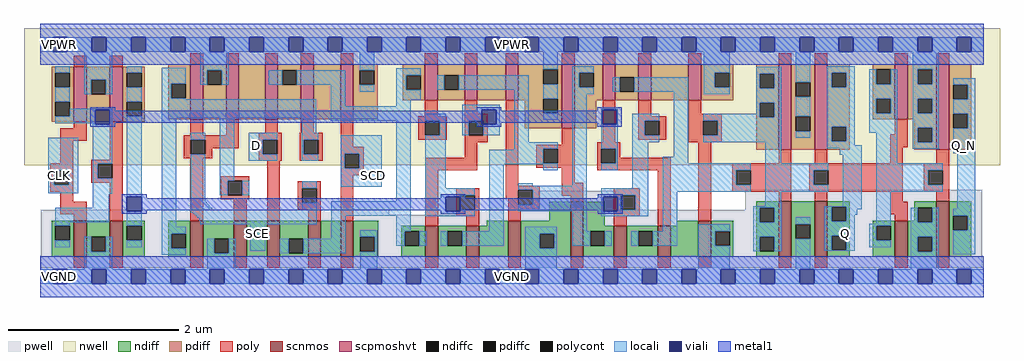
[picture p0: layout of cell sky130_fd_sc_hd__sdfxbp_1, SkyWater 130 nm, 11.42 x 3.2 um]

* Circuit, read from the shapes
.subckt sky130_fd_sc_hd__sdfxbp_1 CLK D SCD SCE VGND VNB VPB VPWR Q Q_N
XM1 VGND CLK n1 VNB sky130_fd_pr__nfet_01v8 w=0.42 l=0.15
XM2 n2 n1 VGND VNB sky130_fd_pr__nfet_01v8 w=0.42 l=0.15
XM3 VGND SCE n3 VNB sky130_fd_pr__nfet_01v8 w=0.42 l=0.15
XM4 n4 n3 VGND VNB sky130_fd_pr__nfet_01v8 w=0.42 l=0.15
XM5 n5 D n4 VNB sky130_fd_pr__nfet_01v8 w=0.42 l=0.15
XM6 n6 SCE n5 VNB sky130_fd_pr__nfet_01v8 w=0.42 l=0.15
XM7 VGND SCD n6 VNB sky130_fd_pr__nfet_01v8 w=0.42 l=0.15
XM8 n7 n1 n5 VNB sky130_fd_pr__nfet_01v8 w=0.36 l=0.15
XM9 n8 n2 n7 VNB sky130_fd_pr__nfet_01v8 w=0.36 l=0.15
XM10 VGND n9 n8 VNB sky130_fd_pr__nfet_01v8 w=0.42 l=0.15
XM11 n9 n7 VGND VNB sky130_fd_pr__nfet_01v8 w=0.64 l=0.15
XM12 n10 n2 n9 VNB sky130_fd_pr__nfet_01v8 w=0.36 l=0.15
XM13 n11 n1 n10 VNB sky130_fd_pr__nfet_01v8 w=0.36 l=0.15
XM14 VGND n12 n11 VNB sky130_fd_pr__nfet_01v8 w=0.42 l=0.15
XM15 VGND n10 n12 VNB sky130_fd_pr__nfet_01v8 w=0.65 l=0.15
XM16 Q n12 VGND VNB sky130_fd_pr__nfet_01v8 w=0.65 l=0.15
XM17 VGND n12 n13 VNB sky130_fd_pr__nfet_01v8 w=0.42 l=0.15
XM18 Q_N n13 VGND VNB sky130_fd_pr__nfet_01v8 w=0.65 l=0.15
XM19 VPWR CLK n1 VPB sky130_fd_pr__pfet_01v8_hvt w=0.64 l=0.15
XM20 n2 n1 VPWR VPB sky130_fd_pr__pfet_01v8_hvt w=0.64 l=0.15
XM21 VPWR SCE n3 VPB sky130_fd_pr__pfet_01v8_hvt w=0.64 l=0.15
XM22 n14 SCE VPWR VPB sky130_fd_pr__pfet_01v8_hvt w=0.64 l=0.15
XM23 n5 D n14 VPB sky130_fd_pr__pfet_01v8_hvt w=0.64 l=0.15
XM24 n15 n3 n5 VPB sky130_fd_pr__pfet_01v8_hvt w=0.64 l=0.15
XM25 VPWR SCD n15 VPB sky130_fd_pr__pfet_01v8_hvt w=0.64 l=0.15
XM26 n7 n2 n5 VPB sky130_fd_pr__pfet_01v8_hvt w=0.42 l=0.15
XM27 n16 n1 n7 VPB sky130_fd_pr__pfet_01v8_hvt w=0.42 l=0.15
XM28 VPWR n9 n16 VPB sky130_fd_pr__pfet_01v8_hvt w=0.42 l=0.15
XM29 n9 n7 VPWR VPB sky130_fd_pr__pfet_01v8_hvt w=0.75 l=0.15
XM30 n10 n1 n9 VPB sky130_fd_pr__pfet_01v8_hvt w=0.42 l=0.15
XM31 n17 n2 n10 VPB sky130_fd_pr__pfet_01v8_hvt w=0.42 l=0.15
XM32 VPWR n12 n17 VPB sky130_fd_pr__pfet_01v8_hvt w=0.42 l=0.15
XM33 VPWR n10 n12 VPB sky130_fd_pr__pfet_01v8_hvt w=1 l=0.15
XM34 Q n12 VPWR VPB sky130_fd_pr__pfet_01v8_hvt w=1 l=0.15
XM35 VPWR n12 n13 VPB sky130_fd_pr__pfet_01v8_hvt w=0.64 l=0.15
XM36 Q_N n13 VPWR VPB sky130_fd_pr__pfet_01v8_hvt w=1 l=0.15
.ends

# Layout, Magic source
magic
tech sky130B
magscale 1 2
<< nwell >>
rect -38 261 2246 582
<< pwell >>
rect 1165 157 1347 201
rect 1650 157 2205 203
rect 1 145 817 157
rect 1019 145 2205 157
rect 1 21 2205 145
rect 29 -17 63 21
<< scnmos >>
rect 79 47 109 131
rect 163 47 193 131
rect 351 47 381 131
rect 453 47 483 131
rect 531 47 561 131
rect 627 47 657 131
rect 703 47 733 131
rect 901 47 931 119
rect 997 47 1027 119
rect 1095 47 1125 131
rect 1241 47 1271 175
rect 1342 47 1372 119
rect 1445 47 1475 119
rect 1540 47 1570 131
rect 1728 47 1758 177
rect 1812 47 1842 177
rect 2000 47 2030 131
rect 2097 47 2127 177
<< scpmoshvt >>
rect 79 363 109 491
rect 163 363 193 491
rect 351 369 381 497
rect 435 369 465 497
rect 526 369 556 497
rect 610 369 640 497
rect 703 369 733 497
rect 900 413 930 497
rect 993 413 1023 497
rect 1089 413 1119 497
rect 1221 347 1251 497
rect 1316 413 1346 497
rect 1400 413 1430 497
rect 1517 413 1547 497
rect 1728 297 1758 497
rect 1812 297 1842 497
rect 2000 369 2030 497
rect 2097 297 2127 497
<< ndiff >>
rect 27 119 79 131
rect 27 85 35 119
rect 69 85 79 119
rect 27 47 79 85
rect 109 93 163 131
rect 109 59 119 93
rect 153 59 163 93
rect 109 47 163 59
rect 193 119 245 131
rect 193 85 203 119
rect 237 85 245 119
rect 193 47 245 85
rect 299 101 351 131
rect 299 67 307 101
rect 341 67 351 101
rect 299 47 351 67
rect 381 89 453 131
rect 381 55 407 89
rect 441 55 453 89
rect 381 47 453 55
rect 483 47 531 131
rect 561 89 627 131
rect 561 55 582 89
rect 616 55 627 89
rect 561 47 627 55
rect 657 47 703 131
rect 733 93 791 131
rect 1191 131 1241 175
rect 1045 119 1095 131
rect 733 59 749 93
rect 783 59 791 93
rect 733 47 791 59
rect 845 107 901 119
rect 845 73 853 107
rect 887 73 901 107
rect 845 47 901 73
rect 931 107 997 119
rect 931 73 953 107
rect 987 73 997 107
rect 931 47 997 73
rect 1027 47 1095 119
rect 1125 101 1241 131
rect 1125 67 1169 101
rect 1203 67 1241 101
rect 1125 47 1241 67
rect 1271 119 1321 175
rect 1676 162 1728 177
rect 1490 119 1540 131
rect 1271 107 1342 119
rect 1271 73 1287 107
rect 1321 73 1342 107
rect 1271 47 1342 73
rect 1372 107 1445 119
rect 1372 73 1399 107
rect 1433 73 1445 107
rect 1372 47 1445 73
rect 1475 47 1540 119
rect 1570 107 1622 131
rect 1570 73 1580 107
rect 1614 73 1622 107
rect 1570 47 1622 73
rect 1676 128 1684 162
rect 1718 128 1728 162
rect 1676 94 1728 128
rect 1676 60 1684 94
rect 1718 60 1728 94
rect 1676 47 1728 60
rect 1758 123 1812 177
rect 1758 89 1768 123
rect 1802 89 1812 123
rect 1758 47 1812 89
rect 1842 164 1894 177
rect 1842 130 1852 164
rect 1886 130 1894 164
rect 2045 161 2097 177
rect 2045 131 2053 161
rect 1842 96 1894 130
rect 1842 62 1852 96
rect 1886 62 1894 96
rect 1842 47 1894 62
rect 1948 119 2000 131
rect 1948 85 1956 119
rect 1990 85 2000 119
rect 1948 47 2000 85
rect 2030 127 2053 131
rect 2087 127 2097 161
rect 2030 93 2097 127
rect 2030 59 2053 93
rect 2087 59 2097 93
rect 2030 47 2097 59
rect 2127 143 2179 177
rect 2127 109 2137 143
rect 2171 109 2179 143
rect 2127 47 2179 109
<< pdiff >>
rect 27 477 79 491
rect 27 443 35 477
rect 69 443 79 477
rect 27 409 79 443
rect 27 375 35 409
rect 69 375 79 409
rect 27 363 79 375
rect 109 461 163 491
rect 109 427 119 461
rect 153 427 163 461
rect 109 363 163 427
rect 193 477 245 491
rect 193 443 203 477
rect 237 443 245 477
rect 193 409 245 443
rect 193 375 203 409
rect 237 375 245 409
rect 193 363 245 375
rect 299 452 351 497
rect 299 418 307 452
rect 341 418 351 452
rect 299 369 351 418
rect 381 483 435 497
rect 381 449 391 483
rect 425 449 435 483
rect 381 369 435 449
rect 465 369 526 497
rect 556 483 610 497
rect 556 449 566 483
rect 600 449 610 483
rect 556 369 610 449
rect 640 369 703 497
rect 733 483 790 497
rect 733 449 748 483
rect 782 449 790 483
rect 733 369 790 449
rect 848 472 900 497
rect 848 438 856 472
rect 890 438 900 472
rect 848 413 900 438
rect 930 472 993 497
rect 930 438 945 472
rect 979 438 993 472
rect 930 413 993 438
rect 1023 413 1089 497
rect 1119 485 1221 497
rect 1119 451 1177 485
rect 1211 451 1221 485
rect 1119 417 1221 451
rect 1119 413 1177 417
rect 1134 383 1177 413
rect 1211 383 1221 417
rect 1134 347 1221 383
rect 1251 477 1316 497
rect 1251 443 1261 477
rect 1295 443 1316 477
rect 1251 413 1316 443
rect 1346 467 1400 497
rect 1346 433 1356 467
rect 1390 433 1400 467
rect 1346 413 1400 433
rect 1430 413 1517 497
rect 1547 477 1622 497
rect 1547 443 1579 477
rect 1613 443 1622 477
rect 1547 413 1622 443
rect 1676 475 1728 497
rect 1676 441 1684 475
rect 1718 441 1728 475
rect 1251 347 1301 413
rect 1676 407 1728 441
rect 1676 373 1684 407
rect 1718 373 1728 407
rect 1676 297 1728 373
rect 1758 455 1812 497
rect 1758 421 1768 455
rect 1802 421 1812 455
rect 1758 375 1812 421
rect 1758 341 1768 375
rect 1802 341 1812 375
rect 1758 297 1812 341
rect 1842 477 1894 497
rect 1842 443 1852 477
rect 1886 443 1894 477
rect 1842 351 1894 443
rect 1948 485 2000 497
rect 1948 451 1956 485
rect 1990 451 2000 485
rect 1948 417 2000 451
rect 1948 383 1956 417
rect 1990 383 2000 417
rect 1948 369 2000 383
rect 2030 485 2097 497
rect 2030 451 2053 485
rect 2087 451 2097 485
rect 2030 417 2097 451
rect 2030 383 2053 417
rect 2087 383 2097 417
rect 2030 369 2097 383
rect 1842 317 1852 351
rect 1886 317 1894 351
rect 1842 297 1894 317
rect 2045 349 2097 369
rect 2045 315 2053 349
rect 2087 315 2097 349
rect 2045 297 2097 315
rect 2127 449 2179 497
rect 2127 415 2137 449
rect 2171 415 2179 449
rect 2127 381 2179 415
rect 2127 347 2137 381
rect 2171 347 2179 381
rect 2127 297 2179 347
<< ndiffc >>
rect 35 85 69 119
rect 119 59 153 93
rect 203 85 237 119
rect 307 67 341 101
rect 407 55 441 89
rect 582 55 616 89
rect 749 59 783 93
rect 853 73 887 107
rect 953 73 987 107
rect 1169 67 1203 101
rect 1287 73 1321 107
rect 1399 73 1433 107
rect 1580 73 1614 107
rect 1684 128 1718 162
rect 1684 60 1718 94
rect 1768 89 1802 123
rect 1852 130 1886 164
rect 1852 62 1886 96
rect 1956 85 1990 119
rect 2053 127 2087 161
rect 2053 59 2087 93
rect 2137 109 2171 143
<< pdiffc >>
rect 35 443 69 477
rect 35 375 69 409
rect 119 427 153 461
rect 203 443 237 477
rect 203 375 237 409
rect 307 418 341 452
rect 391 449 425 483
rect 566 449 600 483
rect 748 449 782 483
rect 856 438 890 472
rect 945 438 979 472
rect 1177 451 1211 485
rect 1177 383 1211 417
rect 1261 443 1295 477
rect 1356 433 1390 467
rect 1579 443 1613 477
rect 1684 441 1718 475
rect 1684 373 1718 407
rect 1768 421 1802 455
rect 1768 341 1802 375
rect 1852 443 1886 477
rect 1956 451 1990 485
rect 1956 383 1990 417
rect 2053 451 2087 485
rect 2053 383 2087 417
rect 1852 317 1886 351
rect 2053 315 2087 349
rect 2137 415 2171 449
rect 2137 347 2171 381
<< poly >>
rect 79 491 109 517
rect 163 491 193 517
rect 351 497 381 523
rect 435 497 465 523
rect 526 497 556 523
rect 610 497 640 523
rect 703 497 733 523
rect 900 497 930 523
rect 993 497 1023 523
rect 1089 497 1119 523
rect 1221 497 1251 523
rect 1316 497 1346 523
rect 1400 497 1430 523
rect 1517 497 1547 523
rect 1728 497 1758 523
rect 1812 497 1842 523
rect 2000 497 2030 523
rect 2097 497 2127 523
rect 900 375 930 413
rect 993 381 1023 413
rect 79 348 109 363
rect 47 318 109 348
rect 47 265 77 318
rect 163 274 193 363
rect 351 331 381 369
rect 435 331 465 369
rect 526 337 556 369
rect 610 337 640 369
rect 336 321 465 331
rect 336 287 352 321
rect 386 301 465 321
rect 511 321 565 337
rect 386 287 402 301
rect 336 277 402 287
rect 511 287 521 321
rect 555 287 565 321
rect 23 249 77 265
rect 23 215 33 249
rect 67 215 77 249
rect 119 264 193 274
rect 119 230 135 264
rect 169 230 193 264
rect 119 220 193 230
rect 23 199 77 215
rect 47 176 77 199
rect 47 146 109 176
rect 79 131 109 146
rect 163 131 193 220
rect 351 131 381 277
rect 511 271 565 287
rect 607 321 661 337
rect 607 287 617 321
rect 651 287 661 321
rect 607 271 661 287
rect 703 304 733 369
rect 885 365 951 375
rect 885 331 901 365
rect 935 331 951 365
rect 885 321 951 331
rect 993 365 1047 381
rect 993 331 1003 365
rect 1037 331 1047 365
rect 993 315 1047 331
rect 703 288 757 304
rect 423 225 489 235
rect 423 191 439 225
rect 473 191 489 225
rect 423 181 489 191
rect 453 131 483 181
rect 531 131 561 271
rect 703 254 713 288
rect 747 254 757 288
rect 993 279 1023 315
rect 703 238 757 254
rect 901 249 1023 279
rect 603 207 657 223
rect 603 173 613 207
rect 647 173 657 207
rect 603 157 657 173
rect 627 131 657 157
rect 703 131 733 238
rect 901 119 931 249
rect 1089 213 1119 413
rect 1221 309 1251 347
rect 1316 315 1346 413
rect 1400 375 1430 413
rect 1517 381 1547 413
rect 1399 365 1465 375
rect 1399 331 1415 365
rect 1449 331 1465 365
rect 1399 321 1465 331
rect 1517 365 1595 381
rect 1517 331 1551 365
rect 1585 331 1595 365
rect 1517 315 1595 331
rect 1161 299 1251 309
rect 1161 265 1177 299
rect 1211 265 1251 299
rect 1161 255 1251 265
rect 1221 220 1251 255
rect 1303 299 1357 315
rect 1303 265 1313 299
rect 1347 279 1357 299
rect 1347 265 1475 279
rect 1303 249 1475 265
rect 973 191 1027 207
rect 973 157 983 191
rect 1017 157 1027 191
rect 1089 203 1169 213
rect 1089 183 1119 203
rect 973 141 1027 157
rect 997 119 1027 141
rect 1095 169 1119 183
rect 1153 169 1169 203
rect 1221 190 1271 220
rect 1241 175 1271 190
rect 1342 191 1403 207
rect 1095 159 1169 169
rect 1095 131 1125 159
rect 1342 157 1359 191
rect 1393 157 1403 191
rect 1342 141 1403 157
rect 1342 119 1372 141
rect 1445 119 1475 249
rect 1540 131 1570 315
rect 2000 333 2030 369
rect 1989 303 2030 333
rect 1728 265 1758 297
rect 1812 265 1842 297
rect 1989 265 2019 303
rect 2097 265 2127 297
rect 1619 249 1758 265
rect 1619 215 1629 249
rect 1663 215 1758 249
rect 1619 199 1758 215
rect 1800 249 2019 265
rect 1800 215 1810 249
rect 1844 215 2019 249
rect 1800 199 2019 215
rect 2068 249 2127 265
rect 2068 215 2078 249
rect 2112 215 2127 249
rect 2068 199 2127 215
rect 1728 177 1758 199
rect 1812 177 1842 199
rect 1989 176 2019 199
rect 2097 177 2127 199
rect 1989 146 2030 176
rect 2000 131 2030 146
rect 79 21 109 47
rect 163 21 193 47
rect 351 21 381 47
rect 453 21 483 47
rect 531 21 561 47
rect 627 21 657 47
rect 703 21 733 47
rect 901 21 931 47
rect 997 21 1027 47
rect 1095 21 1125 47
rect 1241 21 1271 47
rect 1342 21 1372 47
rect 1445 21 1475 47
rect 1540 21 1570 47
rect 1728 21 1758 47
rect 1812 21 1842 47
rect 2000 21 2030 47
rect 2097 21 2127 47
<< polycont >>
rect 352 287 386 321
rect 521 287 555 321
rect 33 215 67 249
rect 135 230 169 264
rect 617 287 651 321
rect 901 331 935 365
rect 1003 331 1037 365
rect 439 191 473 225
rect 713 254 747 288
rect 613 173 647 207
rect 1415 331 1449 365
rect 1551 331 1585 365
rect 1177 265 1211 299
rect 1313 265 1347 299
rect 983 157 1017 191
rect 1119 169 1153 203
rect 1359 157 1393 191
rect 1629 215 1663 249
rect 1810 215 1844 249
rect 2078 215 2112 249
<< locali >>
rect 0 527 29 561
rect 63 527 121 561
rect 155 527 213 561
rect 247 527 305 561
rect 339 527 397 561
rect 431 527 489 561
rect 523 527 581 561
rect 615 527 673 561
rect 707 527 765 561
rect 799 527 857 561
rect 891 527 949 561
rect 983 527 1041 561
rect 1075 527 1133 561
rect 1167 527 1225 561
rect 1259 527 1317 561
rect 1351 527 1409 561
rect 1443 527 1501 561
rect 1535 527 1593 561
rect 1627 527 1685 561
rect 1719 527 1777 561
rect 1811 527 1869 561
rect 1903 527 1961 561
rect 1995 527 2053 561
rect 2087 527 2145 561
rect 2179 527 2208 561
rect 35 477 69 493
rect 35 409 69 443
rect 103 461 169 527
rect 103 427 119 461
rect 153 427 169 461
rect 203 477 237 493
rect 203 409 237 443
rect 69 391 169 393
rect 69 375 129 391
rect 35 359 129 375
rect 123 357 129 359
rect 163 357 169 391
rect 19 249 89 325
rect 19 215 33 249
rect 67 215 89 249
rect 19 195 89 215
rect 123 264 169 357
rect 123 230 135 264
rect 123 194 169 230
rect 123 161 162 194
rect 35 127 162 161
rect 203 187 237 375
rect 35 119 69 127
rect 203 119 237 153
rect 35 69 69 85
rect 103 59 119 93
rect 153 59 169 93
rect 203 69 237 85
rect 284 452 341 489
rect 284 418 307 452
rect 375 483 441 527
rect 748 483 782 527
rect 375 449 391 483
rect 425 449 441 483
rect 535 449 566 483
rect 600 449 714 483
rect 284 415 341 418
rect 284 372 646 415
rect 284 117 318 372
rect 352 321 386 337
rect 352 176 386 287
rect 420 225 454 372
rect 612 337 646 372
rect 680 399 714 449
rect 748 433 782 449
rect 833 472 890 488
rect 1177 485 1211 527
rect 833 438 856 472
rect 929 438 945 472
rect 979 438 1143 472
rect 833 414 890 438
rect 833 399 867 414
rect 680 365 867 399
rect 987 391 1075 402
rect 488 321 555 337
rect 488 287 521 321
rect 488 271 555 287
rect 612 321 651 337
rect 612 287 617 321
rect 612 271 651 287
rect 703 288 799 331
rect 703 254 713 288
rect 747 254 799 288
rect 420 191 439 225
rect 473 191 489 225
rect 613 207 647 223
rect 703 211 799 254
rect 352 175 388 176
rect 352 174 389 175
rect 352 172 390 174
rect 833 177 867 365
rect 352 171 391 172
rect 352 170 392 171
rect 352 168 393 170
rect 352 167 394 168
rect 352 164 395 167
rect 352 162 398 164
rect 352 157 402 162
rect 613 157 647 173
rect 352 150 647 157
rect 358 147 647 150
rect 361 145 647 147
rect 364 143 647 145
rect 366 141 647 143
rect 368 138 647 141
rect 372 131 647 138
rect 375 123 647 131
rect 681 143 867 177
rect 284 101 341 117
rect 103 17 169 59
rect 284 67 307 101
rect 284 51 341 67
rect 391 55 407 89
rect 441 55 457 89
rect 491 61 526 123
rect 681 89 715 143
rect 560 55 582 89
rect 616 55 715 89
rect 749 93 789 109
rect 783 59 789 93
rect 833 107 867 143
rect 901 365 949 381
rect 935 331 949 365
rect 987 365 1033 391
rect 987 331 1003 365
rect 1067 357 1075 391
rect 1037 331 1075 357
rect 901 207 949 331
rect 1109 315 1143 438
rect 1177 417 1211 451
rect 1177 367 1211 383
rect 1245 477 1295 493
rect 1245 443 1261 477
rect 1553 477 1614 527
rect 1245 427 1295 443
rect 1340 433 1356 467
rect 1390 433 1517 467
rect 1109 299 1211 315
rect 1109 297 1177 299
rect 1051 265 1177 297
rect 1051 263 1211 265
rect 901 191 1017 207
rect 901 187 983 191
rect 901 153 949 187
rect 983 153 1017 157
rect 901 141 1017 153
rect 1051 107 1085 263
rect 1177 249 1211 263
rect 1119 213 1153 219
rect 1245 213 1279 427
rect 1313 391 1351 393
rect 1313 357 1315 391
rect 1349 357 1351 391
rect 1313 299 1351 357
rect 1347 265 1351 299
rect 1313 249 1351 265
rect 1385 365 1449 381
rect 1385 331 1415 365
rect 1385 315 1449 331
rect 1119 203 1279 213
rect 1385 207 1423 315
rect 1483 281 1517 433
rect 1553 443 1579 477
rect 1613 443 1614 477
rect 1553 427 1614 443
rect 1676 475 1734 491
rect 1676 441 1684 475
rect 1718 441 1734 475
rect 1676 407 1734 441
rect 1676 381 1684 407
rect 1551 373 1684 381
rect 1718 373 1734 407
rect 1551 365 1734 373
rect 1585 331 1734 365
rect 1551 315 1734 331
rect 1768 455 1802 527
rect 1768 375 1802 421
rect 1768 325 1802 341
rect 1840 477 1906 493
rect 2042 485 2103 527
rect 1840 443 1852 477
rect 1886 443 1906 477
rect 1840 351 1906 443
rect 1153 169 1279 203
rect 1119 153 1279 169
rect 833 73 853 107
rect 887 73 903 107
rect 937 73 953 107
rect 987 73 1085 107
rect 1135 101 1209 117
rect 391 17 457 55
rect 749 17 789 59
rect 1135 67 1169 101
rect 1203 67 1209 101
rect 1245 107 1279 153
rect 1313 191 1423 207
rect 1313 187 1359 191
rect 1313 153 1317 187
rect 1351 157 1359 187
rect 1393 157 1423 191
rect 1351 153 1423 157
rect 1313 141 1423 153
rect 1457 265 1517 281
rect 1697 265 1734 315
rect 1840 317 1852 351
rect 1886 317 1906 351
rect 1940 451 1956 485
rect 1990 451 2006 485
rect 1940 417 2006 451
rect 1940 383 1956 417
rect 1990 383 2006 417
rect 1940 337 2006 383
rect 1840 308 1906 317
rect 1840 301 1922 308
rect 1871 286 1922 301
rect 1457 249 1663 265
rect 1457 215 1629 249
rect 1457 199 1663 215
rect 1697 249 1844 265
rect 1697 215 1810 249
rect 1697 199 1844 215
rect 1457 107 1491 199
rect 1697 165 1734 199
rect 1878 165 1922 286
rect 1668 162 1734 165
rect 1668 128 1684 162
rect 1718 128 1734 162
rect 1836 164 1922 165
rect 1245 73 1287 107
rect 1321 73 1337 107
rect 1383 73 1399 107
rect 1433 73 1491 107
rect 1540 107 1614 123
rect 1540 73 1580 107
rect 1135 17 1209 67
rect 1540 17 1614 73
rect 1668 94 1734 128
rect 1668 60 1684 94
rect 1718 60 1734 94
rect 1768 123 1802 139
rect 1768 17 1802 89
rect 1836 130 1852 164
rect 1886 158 1922 164
rect 1956 265 2006 337
rect 2042 451 2053 485
rect 2087 451 2103 485
rect 2042 417 2103 451
rect 2042 383 2053 417
rect 2087 383 2103 417
rect 2042 349 2103 383
rect 2042 315 2053 349
rect 2087 315 2103 349
rect 2042 299 2103 315
rect 2137 449 2188 465
rect 2171 415 2188 449
rect 2137 381 2188 415
rect 2171 347 2188 381
rect 2137 289 2188 347
rect 1956 249 2112 265
rect 1956 215 2078 249
rect 1956 199 2112 215
rect 1886 145 1912 158
rect 1886 130 1906 145
rect 1836 96 1906 130
rect 1956 124 1990 199
rect 1836 62 1852 96
rect 1886 62 1906 96
rect 1940 119 1990 124
rect 1940 85 1956 119
rect 1940 69 1990 85
rect 2037 127 2053 161
rect 2087 127 2103 161
rect 2146 159 2188 289
rect 2037 93 2103 127
rect 1836 61 1906 62
rect 2037 59 2053 93
rect 2087 59 2103 93
rect 2037 17 2103 59
rect 2137 143 2188 159
rect 2171 109 2188 143
rect 2137 53 2188 109
rect 0 -17 29 17
rect 63 -17 121 17
rect 155 -17 213 17
rect 247 -17 305 17
rect 339 -17 397 17
rect 431 -17 489 17
rect 523 -17 581 17
rect 615 -17 673 17
rect 707 -17 765 17
rect 799 -17 857 17
rect 891 -17 949 17
rect 983 -17 1041 17
rect 1075 -17 1133 17
rect 1167 -17 1225 17
rect 1259 -17 1317 17
rect 1351 -17 1409 17
rect 1443 -17 1501 17
rect 1535 -17 1593 17
rect 1627 -17 1685 17
rect 1719 -17 1777 17
rect 1811 -17 1869 17
rect 1903 -17 1961 17
rect 1995 -17 2053 17
rect 2087 -17 2145 17
rect 2179 -17 2208 17
<< viali >>
rect 29 527 63 561
rect 121 527 155 561
rect 213 527 247 561
rect 305 527 339 561
rect 397 527 431 561
rect 489 527 523 561
rect 581 527 615 561
rect 673 527 707 561
rect 765 527 799 561
rect 857 527 891 561
rect 949 527 983 561
rect 1041 527 1075 561
rect 1133 527 1167 561
rect 1225 527 1259 561
rect 1317 527 1351 561
rect 1409 527 1443 561
rect 1501 527 1535 561
rect 1593 527 1627 561
rect 1685 527 1719 561
rect 1777 527 1811 561
rect 1869 527 1903 561
rect 1961 527 1995 561
rect 2053 527 2087 561
rect 2145 527 2179 561
rect 129 357 163 391
rect 203 153 237 187
rect 1033 365 1067 391
rect 1033 357 1037 365
rect 1037 357 1067 365
rect 949 153 983 187
rect 1315 357 1349 391
rect 1317 153 1351 187
rect 29 -17 63 17
rect 121 -17 155 17
rect 213 -17 247 17
rect 305 -17 339 17
rect 397 -17 431 17
rect 489 -17 523 17
rect 581 -17 615 17
rect 673 -17 707 17
rect 765 -17 799 17
rect 857 -17 891 17
rect 949 -17 983 17
rect 1041 -17 1075 17
rect 1133 -17 1167 17
rect 1225 -17 1259 17
rect 1317 -17 1351 17
rect 1409 -17 1443 17
rect 1501 -17 1535 17
rect 1593 -17 1627 17
rect 1685 -17 1719 17
rect 1777 -17 1811 17
rect 1869 -17 1903 17
rect 1961 -17 1995 17
rect 2053 -17 2087 17
rect 2145 -17 2179 17
<< metal1 >>
rect 0 561 2208 592
rect 0 527 29 561
rect 63 527 121 561
rect 155 527 213 561
rect 247 527 305 561
rect 339 527 397 561
rect 431 527 489 561
rect 523 527 581 561
rect 615 527 673 561
rect 707 527 765 561
rect 799 527 857 561
rect 891 527 949 561
rect 983 527 1041 561
rect 1075 527 1133 561
rect 1167 527 1225 561
rect 1259 527 1317 561
rect 1351 527 1409 561
rect 1443 527 1501 561
rect 1535 527 1593 561
rect 1627 527 1685 561
rect 1719 527 1777 561
rect 1811 527 1869 561
rect 1903 527 1961 561
rect 1995 527 2053 561
rect 2087 527 2145 561
rect 2179 527 2208 561
rect 0 496 2208 527
rect 117 391 175 397
rect 117 357 129 391
rect 163 388 175 391
rect 1021 391 1079 397
rect 1021 388 1033 391
rect 163 360 1033 388
rect 163 357 175 360
rect 117 351 175 357
rect 1021 357 1033 360
rect 1067 388 1079 391
rect 1303 391 1361 397
rect 1303 388 1315 391
rect 1067 360 1315 388
rect 1067 357 1079 360
rect 1021 351 1079 357
rect 1303 357 1315 360
rect 1349 357 1361 391
rect 1303 351 1361 357
rect 191 187 249 193
rect 191 153 203 187
rect 237 184 249 187
rect 937 187 995 193
rect 937 184 949 187
rect 237 156 949 184
rect 237 153 249 156
rect 191 147 249 153
rect 937 153 949 156
rect 983 184 995 187
rect 1305 187 1363 193
rect 1305 184 1317 187
rect 983 156 1317 184
rect 983 153 995 156
rect 937 147 995 153
rect 1305 153 1317 156
rect 1351 153 1363 187
rect 1305 147 1363 153
rect 0 17 2208 48
rect 0 -17 29 17
rect 63 -17 121 17
rect 155 -17 213 17
rect 247 -17 305 17
rect 339 -17 397 17
rect 431 -17 489 17
rect 523 -17 581 17
rect 615 -17 673 17
rect 707 -17 765 17
rect 799 -17 857 17
rect 891 -17 949 17
rect 983 -17 1041 17
rect 1075 -17 1133 17
rect 1167 -17 1225 17
rect 1259 -17 1317 17
rect 1351 -17 1409 17
rect 1443 -17 1501 17
rect 1535 -17 1593 17
rect 1627 -17 1685 17
rect 1719 -17 1777 17
rect 1811 -17 1869 17
rect 1903 -17 1961 17
rect 1995 -17 2053 17
rect 2087 -17 2145 17
rect 2179 -17 2208 17
rect 0 -48 2208 -17
<< labels >>
flabel metal1 s 29 -17 63 17 0 FreeSans 200 0 0 0 VGND
port 5 nsew ground bidirectional abutment
flabel metal1 s 29 527 63 561 0 FreeSans 200 0 0 0 VPWR
port 8 nsew power bidirectional abutment
flabel locali s 763 221 797 255 0 FreeSans 300 0 0 0 SCD
port 3 nsew signal input
flabel locali s 2143 289 2177 323 0 FreeSans 400 0 0 0 Q_N
port 10 nsew signal output
flabel locali s 489 289 523 323 0 FreeSans 300 0 0 0 D
port 2 nsew signal input
flabel locali s 491 85 525 119 0 FreeSans 300 0 0 0 SCE
port 4 nsew signal input
flabel locali s 29 221 63 255 0 FreeSans 400 0 0 0 CLK
port 1 nsew clock input
flabel locali s 1867 85 1901 119 0 FreeSans 400 0 0 0 Q
port 9 nsew signal output
flabel pwell s 29 -17 63 17 0 FreeSans 200 0 0 0 VNB
port 6 nsew ground bidirectional
flabel pwell s 46 0 46 0 0 FreeSans 200 0 0 0 VNB
flabel nwell s 29 527 63 561 0 FreeSans 200 0 0 0 VPB
port 7 nsew power bidirectional
flabel nwell s 46 544 46 544 0 FreeSans 200 0 0 0 VPB
rlabel comment s 0 0 0 0 4 sdfxbp_1
rlabel metal1 s 0 -48 2208 48 1 VGND
port 5 nsew ground bidirectional abutment
rlabel metal1 s 0 496 2208 592 1 VPWR
port 8 nsew power bidirectional abutment
<< properties >>
string FIXED_BBOX 0 0 2208 544
string GDS_END 343100
string GDS_FILE $PDKPATH/libs.ref/sky130_fd_sc_hd/gds/sky130_fd_sc_hd.gds
string GDS_START 326098
string LEFclass CORE
string LEFsite unithd
string LEFsymmetry X Y R90
string path 0.000 0.000 11.040 0.000 
<< end >>
